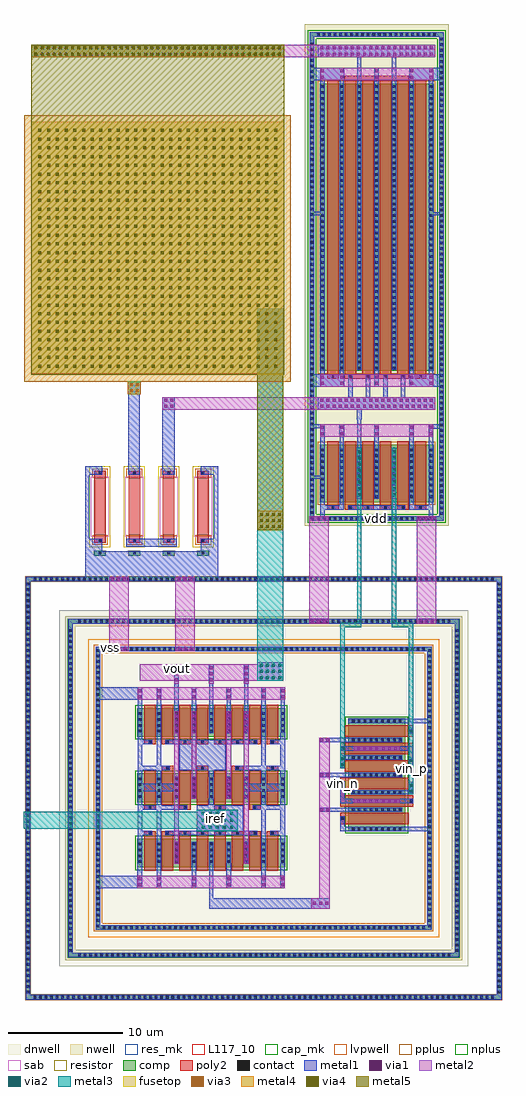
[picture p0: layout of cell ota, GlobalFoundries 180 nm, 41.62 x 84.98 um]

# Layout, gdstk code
from math import pi, radians
import gdstk
lib = gdstk.Library(unit=1e-6, precision=5e-09)
def R(c, l, rs):  # rectangles x0, y0, x1, y1
    for r in rs: c.add(gdstk.rectangle(r[:2], r[2:], *l))
def A(c, l, x, y, w, h, nx, ny, dx, dy):  # array of equal rectangles
    R(c, l, [(x+i*dx, y+j*dy, x+i*dx+w, y+j*dy+h) for i in range(nx) for j in range(ny)])
dnwell = (12, 0)
nwell = (21, 0)
comp = (22, 0)
poly2 = (30, 0)
pplus = (31, 0)
nplus = (32, 0)
contact = (33, 0)
metal1 = (34, 0)
via1 = (35, 0)
metal2 = (36, 0)
via2 = (38, 0)
via3 = (40, 0)
via4 = (41, 0)
metal3 = (42, 0)
metal4 = (46, 0)
sab = (49, 0)
resistor = (62, 0)
fusetop = (75, 0)
metal5 = (81, 0)
res_mk = (110, 5)
cap_mk = (117, 5)
L117_10 = (117, 10)
lvpwell = (204, 0)

diff_pair_flat = lib.new_cell('diff_pair_FLAT')
R(diff_pair_flat, comp, [(8.89,-12.565,13.89,-12.145), (8.89,-12.145,13.89,-3.16), (8.89,-3.16,13.89,-2.74)])
A(diff_pair_flat, poly2, 8.225, -11.95, 0.36, 1, 1, 3, 0, 3.04)
A(diff_pair_flat, poly2, 8.585, -11.95, 5.605, 1, 1, 6, 0, 1.52)
R(diff_pair_flat, poly2, [(8.225,-10.43,8.585,-7.91), (14.19,-10.43,14.55,-9.43), (14.19,-7.39,14.55,-4.87), (14.19,-4.35,14.55,-3.35)])
R(diff_pair_flat, nplus, [(8.645,-12.735,14.13,-2.57)])
A(diff_pair_flat, contact, 9.235, -12.465, 0.22, 0.22, 5, 2, 0.51, 1.665)
A(diff_pair_flat, contact, 11.79, -12.465, 0.22, 0.22, 4, 2, 0.51, 1.665)
A(diff_pair_flat, contact, 8.295, -11.56, 0.22, 0.22, 1, 3, 0, 3.04)
A(diff_pair_flat, contact, 9.235, -9.28, 0.22, 0.22, 5, 4, 0.51, 1.52)
A(diff_pair_flat, contact, 11.79, -9.28, 0.22, 0.22, 4, 4, 0.51, 1.52)
A(diff_pair_flat, contact, 9.235, -3.06, 0.22, 0.22, 5, 1, 0.51, 0)
A(diff_pair_flat, contact, 11.79, -3.06, 0.22, 0.22, 4, 1, 0.51, 0)
R(diff_pair_flat, contact, [(14.26,-10.04,14.48,-9.82), (14.26,-6.53,14.48,-6.31), (14.26,-3.96,14.48,-3.74)])
A(diff_pair_flat, metal1, 6.405, -10.88, 4.5, 0.38, 1, 3, 0, 3.04)
A(diff_pair_flat, metal1, 9.155, -10.88, 4.465, 0.38, 1, 3, 0, 3.04)
R(diff_pair_flat, metal1, [(9.155,-12.545,16.17,-12.165), (15.77,-12.545,16.17,-2.76), (8.21,-12.54,9.155,-12.16), (8.21,-12.54,10.905,-12.16), (8.21,-12.16,8.6,-11.26), (8.215,-11.64,8.595,-11.26), (8.255,-10.13,14.56,-9.73), (9.41,-10.13,13.41,-9.73), (8.215,-10.12,8.595,-8.22), (14.175,-10.12,14.565,-9.74), (9.155,-9.36,14.56,-8.98), (14.16,-9.36,14.56,-8.26), (14.18,-7.19,14.56,-5.18), (8.2,-7.045,8.6,-5.945), (8.2,-6.32,13.62,-5.94), (8.21,-5.57,14.535,-5.17), (9.41,-5.57,13.41,-5.17), (8.215,-5.56,8.595,-5.18), (14.175,-4.04,14.565,-3.14), (14.18,-4.04,14.56,-3.66), (8.895,-3.14,10.905,-2.76), (9.155,-3.14,13.62,-2.76), (13.62,-3.14,16.17,-2.76)])
A(diff_pair_flat, via1, 6.465, -10.82, 0.26, 0.26, 1, 3, 0, 3.04)
A(diff_pair_flat, via1, 6.985, -10.82, 0.26, 0.26, 1, 3, 0, 3.04)
A(diff_pair_flat, via1, 9.69, -10.06, 0.26, 0.26, 7, 2, 0.53, 4.56)
R(diff_pair_flat, via1, [(14.23,-9.205,14.49,-8.945), (14.23,-8.675,14.49,-8.415), (8.27,-6.89,8.53,-6.63), (8.27,-6.36,8.53,-6.1)])
R(diff_pair_flat, metal2, [(6.405,-10.88,7.305,-4.42), (9.41,-10.13,13.41,-9.73), (14.16,-9.36,14.56,-8.26), (8.2,-7.045,8.6,-5.945), (9.41,-5.57,13.41,-5.17)])
R(diff_pair_flat, via2, [(14.23,-9.205,14.49,-8.945), (14.23,-8.675,14.49,-8.415), (8.27,-6.89,8.53,-6.63), (8.27,-6.36,8.53,-6.1)])
R(diff_pair_flat, metal3, [(14.16,-9.36,14.56,-8.26), (8.2,-7.045,8.6,-5.945)])
diff_pair_flat.add(gdstk.Label('vin_n', (8.385,-8.445), layer=34, texttype=10))
diff_pair_flat.add(gdstk.Label('vin_p', (14.445,-7.065), layer=34, texttype=10))
diff_pair_flat.add(gdstk.Label('vin2', (11.405,-9.08), layer=34, texttype=10))
diff_pair_flat.add(gdstk.Label('vin1', (11.395,-6.185), layer=34, texttype=10))
diff_pair_flat.add(gdstk.Label('cm', (6.685,-7.685), layer=34, texttype=10))
diff_pair_flat.add(gdstk.Label('vss', (14.37,-2.975), layer=34, texttype=10))

via_dev_12 = lib.new_cell('via_dev$12')
R(via_dev_12, comp, [(0,0,0.4,24.63)])
A(via_dev_12, contact, 0.09, 0.205, 0.22, 0.22, 1, 51, 0, 0.48)
R(via_dev_12, metal1, [(0,0,0.4,24.63)])

via_dev_15 = lib.new_cell('via_dev$15')
R(via_dev_15, comp, [(0,0,28.44,0.4)])
A(via_dev_15, contact, 0.19, 0.09, 0.22, 0.22, 59, 1, 0.48, 0)
R(via_dev_15, metal1, [(0,0,28.44,0.4)])

via_dev_18 = lib.new_cell('via_dev$18')
R(via_dev_18, comp, [(0,4.09,0.4,33.56)])
A(via_dev_18, contact, 0.09, 4.595, 0.22, 0.22, 1, 59, 0, 0.48)
R(via_dev_18, metal1, [(0,4.09,0.4,33.56)])

via_dev_16 = lib.new_cell('via_dev$16')
R(via_dev_16, comp, [(3.275,0,37.355,0.4)])
A(via_dev_16, contact, 4.17, 0.09, 0.22, 0.22, 35, 1, 0.48, 0)
A(via_dev_16, contact, 20.975, 0.09, 0.22, 0.22, 33, 1, 0.48, 0)
R(via_dev_16, metal1, [(3.275,0,37.355,0.4)])

via_dev_33 = lib.new_cell('via_dev$33')
R(via_dev_33, metal1, [(0,0,1.6,0.9)])
A(via_dev_33, via1, 0.14, 0.32, 0.26, 0.26, 3, 1, 0.53, 0)
R(via_dev_33, metal2, [(0,0,1.6,0.9)])

via_dev_32 = lib.new_cell('via_dev$32')
R(via_dev_32, metal2, [(0,0,2.26,1.6)])
A(via_dev_32, via2, 0.205, 0.14, 0.26, 0.26, 4, 3, 0.53, 0.53)
R(via_dev_32, metal3, [(0,0,2.26,1.6)])

ota_res_flat = lib.new_cell('ota_res_FLAT')
A(ota_res_flat, comp, 0.36, -6.21, 0.42, 1, 1, 4, 0, 3)
A(ota_res_flat, poly2, 1.48, -6.21, 6.28, 1, 1, 4, 0, 3)
A(ota_res_flat, pplus, 1.3, -6.39, 0.82, 1.36, 1, 4, 0, 3)
A(ota_res_flat, pplus, 7.12, -6.39, 0.82, 1.36, 1, 4, 0, 3)
A(ota_res_flat, pplus, 0.34, -6.23, 0.46, 1.04, 1, 4, 0, 3)
A(ota_res_flat, contact, 0.46, -5.82, 0.22, 0.22, 1, 4, 0, 3)
A(ota_res_flat, contact, 1.58, -5.82, 0.22, 0.22, 1, 4, 0, 3)
A(ota_res_flat, contact, 7.44, -5.82, 0.22, 0.22, 1, 4, 0, 3)
A(ota_res_flat, metal1, 0.38, -5.9, 0.38, 0.38, 1, 4, 0, 3)
A(ota_res_flat, metal1, 1.47, -5.9, 0.38, 0.38, 1, 4, 0, 3)
R(ota_res_flat, metal1, [(0.38,-7,1.85,-5.515), (0.38,-7,0.76,4.58), (1.85,-7,7.77,-6.61), (7.39,-7,8.16,-5.515), (7.39,-5.9,7.77,-5.52), (1.15,-3.39,1.85,0.97), (0.38,-2.905,0.76,-2.515), (7.39,-2.905,7.77,-2.515), (7.39,-2.9,7.77,-2.52), (0.38,0.095,0.76,0.485), (7.39,0.095,7.77,0.485), (7.39,0.1,8.61,0.48), (0.38,3.095,1.85,4.58), (7.39,3.095,8.16,4.58), (7.39,3.1,7.77,3.48), (1.85,4.19,7.77,4.58)])
A(ota_res_flat, sab, 2.02, -6.49, 5.2, 1.56, 1, 4, 0, 3)
A(ota_res_flat, resistor, 1.08, -6.61, 7.08, 1.8, 1, 4, 0, 3)
A(ota_res_flat, res_mk, 2.12, -6.21, 5, 1, 1, 4, 0, 3)
ota_res_flat.add(gdstk.Label('vss', (0.51,-6.495), layer=34, texttype=10))
ota_res_flat.add(gdstk.Label('vin', (7.72,0.225), layer=34, texttype=10))
ota_res_flat.add(gdstk.Label('vout', (7.72,-2.665), layer=34, texttype=10))

via_dev_39 = lib.new_cell('via_dev$39')
R(via_dev_39, metal1, [(0,0,3.56,1.87)])
A(via_dev_39, via1, 0.41, 0.185, 0.26, 0.26, 5, 3, 0.62, 0.62)
R(via_dev_39, metal2, [(0,0,3.56,1.87)])
A(via_dev_39, via2, 0.41, 0.185, 0.26, 0.26, 5, 3, 0.62, 0.62)
R(via_dev_39, metal3, [(0,0,3.56,1.87)])

via_dev_42 = lib.new_cell('via_dev$42')
R(via_dev_42, metal1, [(0,0,0.4,1.91)])
A(via_dev_42, via1, 0.07, 0.295, 0.26, 0.26, 1, 3, 0, 0.53)
R(via_dev_42, metal2, [(0,0,0.4,1.91)])

cm_nmos_flat = lib.new_cell('cm_nmos_FLAT')
A(cm_nmos_flat, comp, 9.16, -4.745, 0.42, 2.5, 1, 3, 0, 5.685)
A(cm_nmos_flat, comp, 9.58, -4.745, 12.02, 2.5, 1, 3, 0, 5.685)
A(cm_nmos_flat, comp, 21.6, -4.745, 0.42, 2.5, 1, 3, 0, 5.685)
A(cm_nmos_flat, poly2, 9.77, -5.045, 1, 3.1, 8, 3, 1.52, 5.685)
A(cm_nmos_flat, poly2, 9.77, -1.945, 1, 0.36, 8, 2, 1.52, 7.91)
A(cm_nmos_flat, poly2, 9.77, 0.28, 1, 0.36, 4, 1, 3.04, 0)
A(cm_nmos_flat, poly2, 11.29, 3.74, 1, 0.36, 4, 1, 3.04, 0)
A(cm_nmos_flat, nplus, 8.99, -4.985, 13.2, 2.98, 1, 3, 0, 5.685)
A(cm_nmos_flat, contact, 9.26, -4.37, 0.22, 0.22, 1, 4, 0, 0.51)
A(cm_nmos_flat, contact, 10.92, -4.37, 0.22, 0.22, 7, 4, 1.52, 0.51)
A(cm_nmos_flat, contact, 21.7, -4.37, 0.22, 0.22, 1, 4, 0, 0.51)
A(cm_nmos_flat, contact, 10.16, -1.875, 0.22, 0.22, 8, 2, 1.52, 7.91)
A(cm_nmos_flat, contact, 10.16, 0.35, 0.22, 0.22, 4, 1, 3.04, 0)
A(cm_nmos_flat, contact, 9.26, 1.315, 0.22, 0.22, 1, 4, 0, 0.51)
A(cm_nmos_flat, contact, 10.92, 1.315, 0.22, 0.22, 7, 4, 1.52, 0.51)
A(cm_nmos_flat, contact, 21.7, 1.315, 0.22, 0.22, 1, 4, 0, 0.51)
A(cm_nmos_flat, contact, 11.68, 3.81, 0.22, 0.22, 4, 1, 3.04, 0)
A(cm_nmos_flat, contact, 9.26, 7, 0.22, 0.22, 1, 4, 0, 0.51)
A(cm_nmos_flat, contact, 10.92, 7, 0.22, 0.22, 7, 4, 1.52, 0.51)
A(cm_nmos_flat, contact, 21.7, 7, 0.22, 0.22, 1, 4, 0, 0.51)
A(cm_nmos_flat, metal1, 12.35, -8.57, 0.4, 1.7, 3, 1, 3.04, 0)
A(cm_nmos_flat, metal1, 10.835, -6.55, 0.4, 1.1, 4, 1, 3.035, 0)
A(cm_nmos_flat, metal1, 10.84, -5.45, 0.38, 1, 4, 1, 3.04, 0)
A(cm_nmos_flat, metal1, 9.18, -4.45, 0.38, 1.91, 1, 3, 0, 5.685)
A(cm_nmos_flat, metal1, 12.36, -4.45, 0.38, 1.91, 6, 1, 1.52, 0)
A(cm_nmos_flat, metal1, 21.62, -4.45, 0.38, 1.91, 1, 3, 0, 5.685)
A(cm_nmos_flat, metal1, 10.08, -1.955, 0.38, 0.38, 8, 2, 1.52, 7.91)
A(cm_nmos_flat, metal1, 10.08, 0.27, 0.38, 0.38, 4, 1, 3.04, 0)
A(cm_nmos_flat, metal1, 10.84, 1.235, 0.38, 1.91, 7, 2, 1.52, 5.685)
A(cm_nmos_flat, metal1, 11.6, 3.73, 0.38, 0.38, 4, 1, 3.04, 0)
R(cm_nmos_flat, metal1, [(15.4,-8.575,15.78,-4.45), (12.36,-8.57,12.74,-4.45), (18.44,-8.57,18.82,-4.45), (18.44,-7.45,18.82,-4.45), (9.17,-6.55,9.57,-5.45), (21.61,-6.55,22.01,-5.45), (9.18,-5.45,9.56,-4.45), (21.62,-5.45,22,-4.45), (10.84,-4.45,11.22,-2.54), (12.36,-4.45,12.74,-2.54), (9.17,-2.54,9.57,0.66), (10.84,-2.54,11.22,1.235), (19.96,-2.54,20.34,1.235), (21.61,-2.54,22.01,-1.57), (9.17,-1.96,10.46,-1.575), (11.6,-1.96,19.58,-1.57), (20.72,-1.96,22.01,-1.57), (21.61,-1.65,22.01,6.92), (14.33,-1.57,18.37,0.655), (9.17,0.265,13.5,0.655), (9.17,0.265,9.57,1.235), (19.2,0.265,22.01,0.655), (21.61,0.265,22.01,1.235), (15.39,0.655,15.79,1.235), (9.56,1.87,12.36,2.495), (18.82,1.87,21.62,2.495), (9.17,3.145,9.57,4.115), (10.84,3.145,11.22,6.92), (15.39,3.145,15.79,3.725), (19.96,3.145,20.34,6.92), (21.61,3.145,22.01,4.115), (9.17,3.725,11.98,4.115), (12.81,3.725,16.85,5.95), (17.68,3.725,22.01,4.115), (9.17,4.115,9.57,6.92), (11.6,5.95,19.58,6.34), (20.72,5.95,22.01,6.34), (9.17,5.96,10.46,6.34), (13.87,8.775,14.27,9.85), (9.18,8.83,9.58,10.93), (10.84,8.83,11.24,9.85), (15.4,8.83,15.78,12.72), (16.92,8.83,17.3,10.925), (19.96,8.83,20.34,10.925), (21.62,8.83,22.02,9.85), (10.84,9.85,11.24,10.93), (13.87,9.85,14.27,10.93), (16.89,9.85,17.29,10.93), (19.95,9.85,20.35,10.93), (21.62,9.85,22.02,10.93)])
A(cm_nmos_flat, via1, 12.42, -8.38, 0.26, 0.26, 3, 3, 3.04, 0.53)
A(cm_nmos_flat, via1, 10.905, -6.395, 0.26, 0.26, 4, 2, 3.035, 0.53)
R(cm_nmos_flat, via1, [(9.24,-6.395,9.5,-6.135), (21.68,-6.395,21.94,-6.135), (9.24,-5.865,9.5,-5.605), (21.68,-5.865,21.94,-5.605), (9.25,9.995,9.51,10.255), (10.91,9.995,11.17,10.255), (13.94,9.995,14.2,10.255), (16.96,9.995,17.22,10.255), (20.02,9.995,20.28,10.255), (21.69,9.995,21.95,10.255), (9.25,10.525,9.51,10.785), (10.91,10.525,11.17,10.785), (13.94,10.525,14.2,10.785), (16.96,10.525,17.22,10.785), (20.02,10.525,20.28,10.785), (21.69,10.525,21.95,10.785)])
A(cm_nmos_flat, metal2, 12.35, -8.57, 0.4, 1.7, 3, 1, 3.04, 0)
A(cm_nmos_flat, metal2, 10.835, -6.55, 0.4, 1.1, 4, 1, 3.035, 0)
R(cm_nmos_flat, metal2, [(9.32,-8.57,21.8,-7.13), (9.17,-6.55,22.01,-5.45), (9.17,-6.55,22.01,-5.45), (9.17,-6.55,9.57,-5.45), (21.61,-6.55,22.01,-5.45), (12.35,-2.54,12.75,6.92), (13.87,-2.54,14.27,1.235), (16.91,-2.54,17.31,1.235), (18.43,-2.54,18.83,6.92), (9.18,9.85,22.01,10.93), (9.18,9.85,9.58,10.93), (10.84,9.85,11.24,10.93), (13.87,9.85,14.27,10.93), (16.89,9.85,17.29,10.93), (19.95,9.85,20.35,10.93), (21.62,9.85,22.02,10.93)])
cm_nmos_flat.add(gdstk.Reference(via_dev_42, (12.35,-4.45)))
cm_nmos_flat.add(gdstk.Reference(via_dev_42, (13.87,-4.45)))
cm_nmos_flat.add(gdstk.Reference(via_dev_42, (16.91,-4.45)))
cm_nmos_flat.add(gdstk.Reference(via_dev_42, (18.43,-4.45)))
cm_nmos_flat.add(gdstk.Reference(via_dev_42, (18.43,6.92)))
cm_nmos_flat.add(gdstk.Reference(via_dev_42, (12.35,6.92)))
cm_nmos_flat.add(gdstk.Reference(via_dev_42, (13.87,1.235)))
cm_nmos_flat.add(gdstk.Reference(via_dev_42, (16.91,1.235)))
cm_nmos_flat.add(gdstk.Label('iref', (13.635,6.145), layer=34, texttype=10))
cm_nmos_flat.add(gdstk.Label('vout', (18.555,-8.16), layer=34, texttype=10))
cm_nmos_flat.add(gdstk.Label('vss', (10.4,3.965), layer=34, texttype=10))
cm_nmos_flat.add(gdstk.Label('iout', (15.62,12.705), layer=34, texttype=10))

via_dev_37 = lib.new_cell('via_dev$37')
R(via_dev_37, metal1, [(0,0,1.1,1.1)])
R(via_dev_37, via1, [(0.155,0.155,0.415,0.415), (0.685,0.155,0.945,0.415), (0.155,0.685,0.415,0.945), (0.685,0.685,0.945,0.945)])
R(via_dev_37, metal2, [(0,0,1.1,1.1)])
R(via_dev_37, via2, [(0.155,0.155,0.415,0.415), (0.685,0.155,0.945,0.415), (0.155,0.685,0.415,0.945), (0.685,0.685,0.945,0.945)])
R(via_dev_37, via3, [(0.155,0.155,0.415,0.415), (0.685,0.155,0.945,0.415), (0.155,0.685,0.415,0.945), (0.685,0.685,0.945,0.945)])
R(via_dev_37, metal3, [(0,0,1.1,1.1)])
R(via_dev_37, metal4, [(0,0,1.1,1.1)])

via_dev_35 = lib.new_cell('via_dev$35')
R(via_dev_35, metal2, [(0,0,22,1.1)])
A(via_dev_35, via2, 0.27, 0.155, 0.26, 0.26, 41, 2, 0.53, 0.53)
A(via_dev_35, via3, 0.27, 0.155, 0.26, 0.26, 41, 2, 0.53, 0.53)
A(via_dev_35, via4, 0.27, 0.155, 0.26, 0.26, 41, 2, 0.53, 0.53)
R(via_dev_35, metal3, [(0,0,22,1.1)])
R(via_dev_35, metal4, [(0,0,22,1.1)])
R(via_dev_35, metal5, [(0,0,22,1.1)])

cap_mim_1 = lib.new_cell('cap_mim$1')
A(cap_mim_1, via4, 0.61, 0.61, 0.26, 0.26, 28, 28, 0.76, 0.76)
R(cap_mim_1, metal4, [(-0.6,-0.6,22.6,22.6)])
R(cap_mim_1, fusetop, [(0,0,22,22)])
R(cap_mim_1, metal5, [(0,0,22,22)])
R(cap_mim_1, cap_mk, [(-0.6,-0.6,22.6,22.6)])
R(cap_mim_1, L117_10, [(0,0,22,0.1)])

out_pmos_flat = lib.new_cell('out_pmos_FLAT')
R(out_pmos_flat, nwell, [(0,1.785,10.78,28.835), (0,28.835,10.78,32.03)])
R(out_pmos_flat, comp, [(0.44,3.395,0.9,28.395), (0.9,3.395,9.88,28.395), (9.88,3.395,10.34,28.395)])
A(out_pmos_flat, poly2, 1.09, 3.095, 1, 25.6, 6, 1, 1.52, 0)
A(out_pmos_flat, poly2, 1.09, 28.695, 1, 0.38, 6, 1, 1.52, 0)
R(out_pmos_flat, poly2, [(2.61,2.715,8.17,3.155), (2.61,28.635,8.17,29.075)])
R(out_pmos_flat, pplus, [(0.27,3.155,10.51,28.635)])
A(out_pmos_flat, contact, 0.56, 3.545, 0.22, 0.22, 1, 49, 0, 0.51)
A(out_pmos_flat, contact, 2.24, 3.545, 0.22, 0.22, 5, 49, 1.52, 0.51)
A(out_pmos_flat, contact, 10, 3.545, 0.22, 0.22, 1, 49, 0, 0.51)
A(out_pmos_flat, contact, 1.48, 28.775, 0.22, 0.22, 6, 1, 1.52, 0)
A(out_pmos_flat, metal1, 2.15, 2.005, 0.4, 1.1, 3, 2, 3.04, 26.68)
A(out_pmos_flat, metal1, 2.16, 3.105, 0.38, 0.36, 3, 2, 3.04, 25.22)
A(out_pmos_flat, metal1, 2.16, 3.465, 0.38, 24.86, 5, 1, 1.52, 0)
A(out_pmos_flat, metal1, 2.92, 28.69, 0.38, 2, 4, 1, 1.52, 0)
A(out_pmos_flat, metal1, 1.4, 28.695, 0.38, 0.38, 6, 1, 1.52, 0)
R(out_pmos_flat, metal1, [(0.27,0,10.51,1.1), (3.68,1.1,4.06,3.465), (6.72,1.1,7.1,3.465), (0.47,2.005,0.87,3.105), (0.87,2.005,2.15,3.105), (8.63,2.005,9.91,3.105), (9.91,2.005,10.31,3.105), (0.48,3.105,0.86,3.465), (9.92,3.105,10.3,3.465), (0.48,3.465,0.86,28.325), (9.92,3.465,10.3,28.325), (0.48,28.325,0.86,28.685), (9.92,28.325,10.3,28.685), (0.47,28.685,0.87,29.785), (0.87,28.685,2.15,29.785), (8.63,28.685,9.91,29.785), (9.91,28.685,10.31,29.785), (0.27,30.69,10.51,31.79)])
A(out_pmos_flat, via1, 0.49, 0.155, 0.26, 0.26, 19, 2, 0.53, 0.53)
A(out_pmos_flat, via1, 2.22, 2.16, 0.26, 0.26, 3, 2, 3.04, 0.53)
A(out_pmos_flat, via1, 2.22, 28.84, 0.26, 0.26, 3, 2, 3.04, 0.53)
A(out_pmos_flat, via1, 0.49, 30.845, 0.26, 0.26, 19, 2, 0.53, 0.53)
R(out_pmos_flat, via1, [(0.54,2.16,0.8,2.42), (9.98,2.16,10.24,2.42), (0.54,2.69,0.8,2.95), (9.98,2.69,10.24,2.95), (0.54,28.84,0.8,29.1), (9.98,28.84,10.24,29.1), (0.54,29.37,0.8,29.63), (9.98,29.37,10.24,29.63)])
A(out_pmos_flat, metal2, 2.15, 2.005, 0.4, 1.1, 3, 2, 3.04, 26.68)
R(out_pmos_flat, metal2, [(0.27,0,10.51,1.1), (0.47,2.005,10.31,3.105), (0.47,2.005,0.87,3.105), (9.91,2.005,10.31,3.105), (0.47,28.685,10.31,29.785), (0.47,28.685,0.87,29.785), (9.91,28.685,10.31,29.785), (0.27,30.69,10.51,31.79)])
out_pmos_flat.add(gdstk.Label('vdd', (0.725,28.945), layer=34, texttype=10))
out_pmos_flat.add(gdstk.Label('vin', (6.12,30.07), layer=34, texttype=10))
out_pmos_flat.add(gdstk.Label('vout', (6.84,1.43), layer=34, texttype=10))

via_dev_40 = lib.new_cell('via_dev$40')
R(via_dev_40, comp, [(0,0,0.4,42.14)])
A(via_dev_40, contact, 0.09, 0.145, 0.22, 0.22, 1, 87, 0, 0.48)
R(via_dev_40, metal1, [(0,0,0.4,42.14)])

via_dev_41 = lib.new_cell('via_dev$41')
R(via_dev_41, comp, [(0,0,11.26,0.4)])
A(via_dev_41, contact, 0.265, 0.09, 0.22, 0.22, 22, 1, 0.48, 0)
R(via_dev_41, metal1, [(0,0,11.26,0.4)])

via_dev_34 = lib.new_cell('via_dev$34')
R(via_dev_34, metal1, [(0,0,1.1,1.1)])
R(via_dev_34, via1, [(0.155,0.155,0.415,0.415), (0.685,0.155,0.945,0.415), (0.155,0.685,0.415,0.945), (0.685,0.685,0.945,0.945)])
R(via_dev_34, metal2, [(0,0,1.1,1.1)])

via_dev_36 = lib.new_cell('via_dev$36')
A(via_dev_36, via3, 0.205, 0.19, 0.26, 0.26, 4, 3, 0.53, 0.53)
A(via_dev_36, via4, 0.205, 0.19, 0.26, 0.26, 4, 3, 0.53, 0.53)
R(via_dev_36, metal3, [(0,0,2.26,1.7)])
R(via_dev_36, metal4, [(0,0,2.26,1.7)])
R(via_dev_36, metal5, [(0,0,2.26,1.7)])

via_dev_22 = lib.new_cell('via_dev$22')
R(via_dev_22, metal1, [(0,0,0.4,1.1)])
R(via_dev_22, via1, [(0.07,0.155,0.33,0.415), (0.07,0.685,0.33,0.945)])
R(via_dev_22, metal2, [(0,0,0.4,1.1)])

cm_pmos_flat = lib.new_cell('cm_pmos_FLAT')
R(cm_pmos_flat, nwell, [(6.305,-3.895,17.085,4.87), (6.305,-3.895,17.085,1.985)])
R(cm_pmos_flat, comp, [(6.745,-3.455,7.205,1.545), (7.205,-3.455,16.185,1.545), (16.185,-3.455,16.645,1.545), (9.975,-3.185,10.375,1.275), (13.015,-3.185,13.415,1.275)])
A(cm_pmos_flat, poly2, 7.395, -4.135, 1, 0.38, 6, 1, 1.52, 0)
A(cm_pmos_flat, poly2, 7.395, -3.755, 1, 5.6, 6, 1, 1.52, 0)
R(cm_pmos_flat, pplus, [(6.575,-3.695,16.815,1.785)])
A(cm_pmos_flat, contact, 7.785, -4.055, 0.22, 0.22, 6, 1, 1.52, 0)
A(cm_pmos_flat, contact, 6.865, -3.105, 0.22, 0.22, 1, 9, 0, 0.51)
A(cm_pmos_flat, contact, 8.545, -3.105, 0.22, 0.22, 3, 4, 3.04, 0.51)
A(cm_pmos_flat, contact, 16.305, -3.105, 0.22, 0.22, 1, 9, 0, 0.51)
A(cm_pmos_flat, contact, 10.065, -2.985, 0.22, 0.22, 1, 4, 0, 0.48)
A(cm_pmos_flat, contact, 13.105, -2.985, 0.22, 0.22, 1, 4, 0, 0.48)
A(cm_pmos_flat, contact, 8.545, -1.065, 0.22, 0.22, 5, 1, 1.52, 0)
A(cm_pmos_flat, contact, 10.065, -0.585, 0.22, 0.22, 1, 4, 0, 0.48)
A(cm_pmos_flat, contact, 13.105, -0.585, 0.22, 0.22, 1, 4, 0, 0.48)
A(cm_pmos_flat, contact, 8.545, -0.555, 0.22, 0.22, 3, 4, 3.04, 0.51)
A(cm_pmos_flat, metal1, 7.705, -4.135, 0.38, 0.38, 6, 1, 1.52, 0)
A(cm_pmos_flat, metal1, 8.465, -3.185, 0.38, 4.46, 3, 1, 3.04, 0)
A(cm_pmos_flat, metal1, 8.465, 1.275, 0.38, 0.95, 3, 1, 3.04, 0)
R(cm_pmos_flat, metal1, [(6.785,-4.14,7.165,-3.185), (7.165,-4.14,8.845,-3.75), (8.465,-4.14,8.845,-3.185), (9.225,-4.14,14.165,-3.75), (14.545,-4.14,14.925,-3.185), (14.925,-4.14,16.225,-3.75), (16.225,-4.14,16.605,-3.185), (13.025,-3.75,13.405,-3.185), (6.785,-3.185,7.165,1.275), (9.975,-3.185,10.375,1.275), (13.015,-3.185,13.415,1.275), (16.225,-3.185,16.605,1.275), (6.785,1.275,7.165,2.225), (9.985,1.275,10.365,3.74), (16.225,1.275,16.605,2.225)])
A(cm_pmos_flat, via1, 10.045, -2.94, 0.26, 0.26, 1, 8, 0, 0.53)
A(cm_pmos_flat, via1, 13.085, -2.94, 0.26, 0.26, 1, 8, 0, 0.53)
R(cm_pmos_flat, metal2, [(9.975,-3.185,10.375,1.275), (13.015,-3.185,13.415,1.275), (7.175,2.225,16.215,3.325)])
A(cm_pmos_flat, via2, 10.045, -2.94, 0.26, 0.26, 1, 8, 0, 0.53)
A(cm_pmos_flat, via2, 13.085, -2.94, 0.26, 0.26, 1, 8, 0, 0.53)
R(cm_pmos_flat, metal3, [(9.975,-3.185,10.375,1.275), (13.015,-3.185,13.415,1.275)])
cm_pmos_flat.add(gdstk.Reference(via_dev_22, (6.775,2.225)))
cm_pmos_flat.add(gdstk.Reference(via_dev_22, (8.455,2.225)))
cm_pmos_flat.add(gdstk.Reference(via_dev_22, (11.495,2.225)))
cm_pmos_flat.add(gdstk.Reference(via_dev_22, (14.535,2.225)))
cm_pmos_flat.add(gdstk.Reference(via_dev_22, (16.215,2.225)))
cm_pmos_flat.add(gdstk.Label('vout1', (11.655,-3.985), layer=34, texttype=10))
cm_pmos_flat.add(gdstk.Label('vdd', (15.775,-4), layer=34, texttype=10))
cm_pmos_flat.add(gdstk.Label('vout2', (10.205,1.605), layer=34, texttype=10))

via_dev_43 = lib.new_cell('via_dev$43')
R(via_dev_43, metal1, [(0,0,1.7,0.4)])
A(via_dev_43, via1, 0.19, 0.07, 0.26, 0.26, 3, 1, 0.53, 0)
R(via_dev_43, metal2, [(0,0,1.7,0.4)])

via_dev_44 = lib.new_cell('via_dev$44')
R(via_dev_44, comp, [(0,0,0.4,36.01)])
A(via_dev_44, contact, 0.09, 0.135, 0.22, 0.22, 1, 75, 0, 0.48)
R(via_dev_44, metal1, [(0,0,0.4,36.01)])

via_dev_45 = lib.new_cell('via_dev$45')
R(via_dev_45, comp, [(0,0,40.62,0.4)])
A(via_dev_45, contact, 0.28, 0.09, 0.22, 0.22, 84, 1, 0.48, 0)
R(via_dev_45, metal1, [(0,0,40.62,0.4)])

ota = lib.new_cell('ota')
R(ota, dnwell, [(1.56,-13.23,37.14,17.74)])
R(ota, nwell, [(2.06,-12.73,2.96,17.24), (2.06,-12.73,36.64,-11.83), (35.74,-12.73,36.64,17.24), (2.06,16.34,36.64,17.24), (22.915,25.09,35.455,68.795)])
R(ota, comp, [(-1.36,-16.15,-0.96,-15.75), (39.66,-16.15,40.06,-15.75), (-1.36,20.26,-0.96,20.66), (39.66,20.26,40.06,20.66), (23.355,67.675,23.755,68.075)])
R(ota, pplus, [(-1.4,-16.19,-0.92,20.7), (-1.4,-16.19,40.1,-15.71), (39.62,-16.19,40.1,20.7), (4.57,-10.22,34.11,-9.5), (4.57,-9.5,5.29,14.01), (33.39,-9.5,34.11,14.01), (4.57,14.01,34.11,14.73), (-1.4,20.22,40.1,20.7)])
R(ota, nplus, [(2.29,-12.5,2.73,17.01), (2.29,-12.5,36.41,-12.06), (35.97,-12.5,36.41,17.01), (2.29,16.57,36.41,17.01), (23.185,25.355,35.185,26.105), (23.185,25.355,23.925,68.245), (34.445,25.355,35.185,68.245), (23.185,67.505,35.185,68.245)])
R(ota, metal1, [(-1.36,-16.15,-0.96,-15.75), (39.66,-16.15,40.06,-15.75), (14.595,-8.23,25.105,-7.325), (5.13,-6.44,8.355,-5.36), (26.095,2.545,26.315,2.765), (32.235,3.98,32.26,4.015), (32.06,4.535,32.28,4.755), (5.13,9.94,8.365,11.04), (11.795,12.62,11.875,12.725), (5.945,14.43,6.005,14.495), (-1.36,20.26,-0.96,20.66), (3.79,20.26,15.37,22.885), (39.66,20.26,40.06,20.66), (24.275,25.935,24.655,26.585), (33.715,25.935,34.095,26.485), (23.755,29.18,24.275,29.47), (7.575,29.535,8.575,36.565), (10.52,29.535,11.62,35.205), (34.105,33.54,34.615,33.95), (23.755,33.58,24.265,33.95), (27.465,34.365,27.865,35.205), (23.755,37.21,24.265,38.31), (34.105,37.21,34.615,38.31), (34.095,52.145,34.615,52.41), (23.755,52.16,24.275,52.43), (23.755,63.89,24.265,64.99), (34.105,63.89,34.615,64.99), (23.355,67.675,23.755,68.075)])
R(ota, metal2, [(24.205,-7.33,25.105,0.185), (15.045,-0.595,15.435,-0.225), (5.88,14.57,7.58,20.26), (11.655,14.57,13.355,20.26), (23.3,16.99,25,25.535), (32.665,16.99,34.365,25.535), (11.62,35.205,27.865,36.305), (-0.88,65.895,24.7,66.995)])
R(ota, metal3, [(-1.525,-1.295,13.525,0.205), (31.98,1.71,32.36,16.66), (26.015,4.01,26.395,16.66), (18.8,11.59,21.055,44.01), (26.015,16.275,27.855,16.66), (27.475,16.275,27.855,27.44), (30.515,16.28,32.36,16.66), (30.515,16.28,30.895,27.44)])
R(ota, metal5, [(18.795,26.4,21.05,38.265), (-0.88,60.265,21.12,65.895)])
R(ota, lvpwell, [(4.06,-10.73,34.64,15.24)])
ota.add(gdstk.Reference(diff_pair_flat, (17.8,11.065)))
r = gdstk.Reference(via_dev_12, (4.73,-10.06)); r.repetition = gdstk.Repetition(1, 1, v1=(0,0), v2=(0,0)); ota.add(r)
r = gdstk.Reference(via_dev_12, (33.57,-10.06)); r.repetition = gdstk.Repetition(1, 1, v1=(0,0), v2=(0,0)); ota.add(r)
r = gdstk.Reference(via_dev_15, (5.13,14.17)); r.repetition = gdstk.Repetition(1, 1, v1=(0,0), v2=(0,0)); ota.add(r)
r = gdstk.Reference(via_dev_15, (5.13,-10.06)); r.repetition = gdstk.Repetition(1, 1, v1=(0,0), v2=(0,0)); ota.add(r)
r = gdstk.Reference(via_dev_18, (2.31,-16.57)); r.repetition = gdstk.Repetition(1, 1, v1=(0,0), v2=(0,0)); ota.add(r)
r = gdstk.Reference(via_dev_18, (35.99,-16.57)); r.repetition = gdstk.Repetition(1, 1, v1=(0,0), v2=(0,0)); ota.add(r)
r = gdstk.Reference(via_dev_16, (-0.965,16.59)); r.repetition = gdstk.Repetition(1, 1, v1=(0,0), v2=(0,0)); ota.add(r)
r = gdstk.Reference(via_dev_16, (-0.965,-12.48)); r.repetition = gdstk.Repetition(1, 1, v1=(0,0), v2=(0,0)); ota.add(r)
r = gdstk.Reference(via_dev_33, (23.5,-8.23)); r.repetition = gdstk.Repetition(1, 1, v1=(0,0), v2=(0,0)); ota.add(r)
r = gdstk.Reference(via_dev_32, (18.8,11.62)); r.repetition = gdstk.Repetition(1, 1, v1=(0,0), v2=(0,0)); ota.add(r)
ota.add(gdstk.Reference(ota_res_flat, (10.79,22.145), rotation=pi/2, x_reflection=True))
ota.add(gdstk.Reference(via_dev_39, (13.525,-1.48)))
ota.add(gdstk.Reference(cm_nmos_flat, (30.375,4.49), rotation=pi))
r = gdstk.Reference(via_dev_37, (7.525,36.565)); r.repetition = gdstk.Repetition(1, 1, v1=(0,0), v2=(0,0)); ota.add(r)
r = gdstk.Reference(via_dev_35, (-0.88,65.895)); r.repetition = gdstk.Repetition(1, 1, v1=(0,0), v2=(0,0)); ota.add(r)
r = gdstk.Reference(cap_mim_1, (-0.88,38.265)); r.repetition = gdstk.Repetition(1, 1, v1=(0,0), v2=(0,0)); ota.add(r)
ota.add(gdstk.Reference(out_pmos_flat, (34.575,66.995), rotation=pi))
r = gdstk.Reference(via_dev_40, (23.355,25.535)); r.repetition = gdstk.Repetition(1, 1, v1=(0,0), v2=(0,0)); ota.add(r)
ota.add(gdstk.Reference(via_dev_41, (23.755,25.535)))
ota.add(gdstk.Reference(via_dev_41, (23.755,67.675)))
ota.add(gdstk.Reference(via_dev_34, (10.52,35.205)))
r = gdstk.Reference(via_dev_36, (18.795,24.7)); r.repetition = gdstk.Repetition(1, 1, v1=(0,0), v2=(0,0)); ota.add(r)
ota.add(gdstk.Reference(cm_pmos_flat, (17.49,30.625)))
ota.add(gdstk.Reference(via_dev_43, (5.88,14.17)))
ota.add(gdstk.Reference(via_dev_43, (5.88,20.26)))
ota.add(gdstk.Reference(via_dev_43, (11.655,14.17)))
ota.add(gdstk.Reference(via_dev_43, (11.655,20.26)))
ota.add(gdstk.Reference(via_dev_44, (-1.36,-15.75)))
ota.add(gdstk.Reference(via_dev_44, (39.66,-15.75)))
ota.add(gdstk.Reference(via_dev_45, (-0.96,-16.15)))
ota.add(gdstk.Reference(via_dev_45, (-0.96,20.26)))
ota.add(gdstk.Reference(via_dev_43, (23.3,16.59)))
ota.add(gdstk.Reference(via_dev_43, (23.3,25.535)))
ota.add(gdstk.Reference(via_dev_43, (32.665,16.59)))
ota.add(gdstk.Reference(via_dev_43, (32.665,25.535)))
r = gdstk.Reference(via_dev_40, (34.615,25.935)); r.repetition = gdstk.Repetition(1, 1, v1=(0,0), v2=(0,0)); ota.add(r)
ota.add(gdstk.Label('vdd', (29.19,25.7), layer=34, texttype=10))
ota.add(gdstk.Label('vin_p', (32.245,4), layer=34, texttype=10))
ota.add(gdstk.Label('vin_n', (26.185,2.62), layer=34, texttype=10))
ota.add(gdstk.Label('vss', (5.975,14.465), layer=34, texttype=10))
ota.add(gdstk.Label('vout', (11.82,12.65), layer=34, texttype=10))
ota.add(gdstk.Label('vin_n', (32.16,4.635), layer=12, texttype=0))
ota.add(gdstk.Label('iref', (15.17,-0.385), layer=36, texttype=10))

lib.write_gds('ota.gds')
